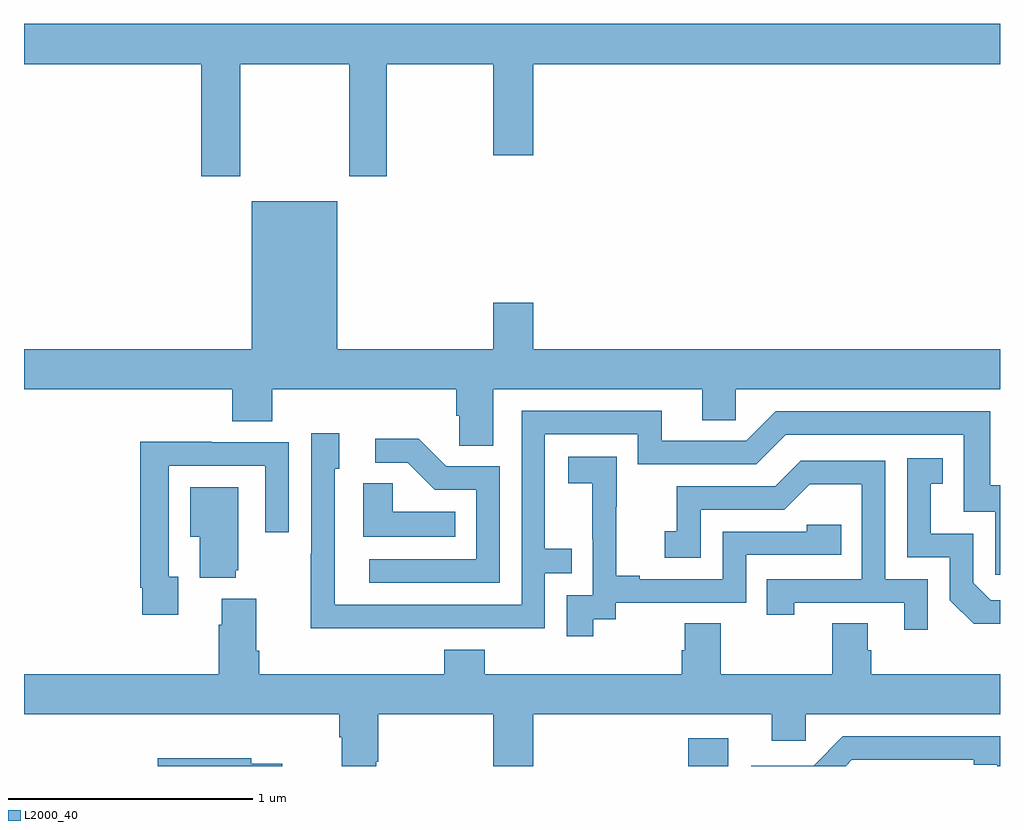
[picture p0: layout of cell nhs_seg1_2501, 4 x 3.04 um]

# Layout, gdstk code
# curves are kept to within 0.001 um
import gdstk
lib = gdstk.Library(unit=1e-6, precision=1e-09)
def R(c, l, rs):  # rectangles x0, y0, x1, y1
    for r in rs: c.add(gdstk.rectangle(r[:2], r[2:], *l))
def P(c, l, *ps):  # polygons
    for p in ps: c.add(gdstk.Polygon(p, *l))
L2000_40 = (2000, 40)

nhs_seg1_2501 = lib.new_cell('nhs_seg1_2501')
R(nhs_seg1_2501, L2000_40, [(249.722,538.199,249.886,538.312)])
P(nhs_seg1_2501, L2000_40, [(247,541.076),(247.727,541.076),(247.727,540.615),(247.887,540.615),(247.887,541.076),(248.332,541.076),(248.332,540.615),(248.487,540.615),(248.487,541.076),(248.924,541.076),(248.924,540.702),(249.088,540.702),(249.088,541.076),(251,541.076),(251,541.24),(247,541.24)],
  [(248.923,539.744),(249.779,539.744),(249.779,539.617),(249.918,539.617),(249.918,539.744),(251,539.744),(251,539.908),(249.088,539.908),(249.088,540.097),(248.924,540.097),(248.924,539.908),(248.284,539.908),(248.284,540.514),(247.934,540.514),(247.934,539.908),(247,539.908),(247,539.744),(247.853,539.744),(247.853,539.611),(248.018,539.611),(248.018,539.744),(248.771,539.744),(248.771,539.635),(248.784,539.635),(248.784,539.512),(248.923,539.512)],
  [(248.639,538.764),(249.135,538.764),(249.135,538.989),(249.245,538.989),(249.245,539.09),(249.135,539.09),(249.135,539.559),(249.516,539.559),(249.516,539.436),(250.002,539.436),(250.122,539.556),(250.851,539.556),(250.851,539.241),(250.98,539.241),(250.98,538.983),(251,538.983),(251,539.35),(250.96,539.35),(250.96,539.652),(250.08,539.652),(249.96,539.532),(249.613,539.532),(249.613,539.655),(249.039,539.655),(249.039,538.86),(248.274,538.86),(248.274,539.418),(248.293,539.418),(248.293,539.563),(248.178,539.563),(248.178,539.069),(248.176,539.069),(248.176,538.763)],
  [(248.949,539.427),(248.73,539.427),(248.617,539.54),(248.439,539.54),(248.439,539.442),(248.573,539.442),(248.684,539.331),(248.853,539.331),(248.853,539.046),(248.415,539.046),(248.415,538.95),(248.949,538.95)],
  [(247.633,538.974),(247.593,538.974),(247.593,539.43),(247.989,539.43),(247.989,539.157),(248.085,539.157),(248.085,539.526),(247.769,539.526),(247.769,539.528),(247.477,539.528),(247.477,538.93),(247.485,538.93),(247.485,538.818),(247.633,538.818)],
  [(249.334,538.801),(249.426,538.801),(249.426,538.869),(249.96,538.869),(249.96,539.064),(250.349,539.064),(250.349,539.187),(250.209,539.187),(250.209,539.16),(249.864,539.16),(249.864,538.965),(249.523,538.965),(249.523,538.978),(249.428,538.978),(249.428,539.261),(249.429,539.261),(249.429,539.467),(249.231,539.467),(249.231,539.357),(249.329,539.357),(249.329,539.129),(249.33,539.129),(249.33,538.899),(249.225,538.899),(249.225,538.731),(249.334,538.731)],
  [(251,538.878),(250.962,538.878),(250.89,538.95),(250.89,539.151),(250.717,539.151),(250.717,539.355),(250.766,539.355),(250.766,539.461),(250.62,539.461),(250.62,539.055),(250.794,539.055),(250.794,538.878),(250.892,538.781),(251,538.781)],
  [(250.704,538.965),(250.53,538.965),(250.53,539.451),(250.184,539.451),(250.079,539.346),(249.676,539.346),(249.676,539.161),(249.627,539.161),(249.627,539.052),(249.774,539.052),(249.774,539.25),(250.116,539.25),(250.22,539.354),(250.434,539.354),(250.434,538.965),(250.045,538.965),(250.045,538.818),(250.156,538.818),(250.156,538.869),(250.607,538.869),(250.607,538.758),(250.704,538.758)],
  [(248.768,539.242),(248.511,539.242),(248.511,539.357),(248.39,539.357),(248.39,539.138),(248.768,539.138)],
  [(247.868,539.001),(247.879,539.001),(247.879,539.341),(247.682,539.341),(247.682,539.138),(247.721,539.138),(247.721,538.97),(247.868,538.97)],
  [(248.443,538.216),(248.451,538.216),(248.451,538.412),(248.924,538.412),(248.924,538.199),(249.088,538.199),(249.088,538.412),(250.064,538.412),(250.064,538.302),(250.203,538.302),(250.203,538.412),(251,538.412),(251,538.576),(250.472,538.576),(250.472,538.674),(250.459,538.674),(250.459,538.784),(250.312,538.784),(250.312,538.576),(249.855,538.576),(249.855,538.784),(249.707,538.784),(249.707,538.674),(249.695,538.674),(249.695,538.576),(248.888,538.576),(248.888,538.675),(248.723,538.675),(248.723,538.576),(247.964,538.576),(247.964,538.672),(247.951,538.672),(247.951,538.885),(247.811,538.885),(247.811,538.778),(247.799,538.778),(247.799,538.576),(247,538.576),(247,538.412),(248.291,538.412),(248.291,538.316),(248.303,538.316),(248.303,538.199),(248.443,538.199)],
  [(250.392,538.224),(250.892,538.224),(250.892,538.204),(250.988,538.204),(250.988,538.199),(251,538.199),(251,538.32),(250.356,538.32),(250.236,538.2),(249.981,538.2),(249.981,538.199),(250.367,538.199)],
  [(248.058,538.208),(247.932,538.208),(247.932,538.231),(247.548,538.231),(247.548,538.199),(248.058,538.199)])

lib.write_gds('nhs_seg1_2501.gds')
